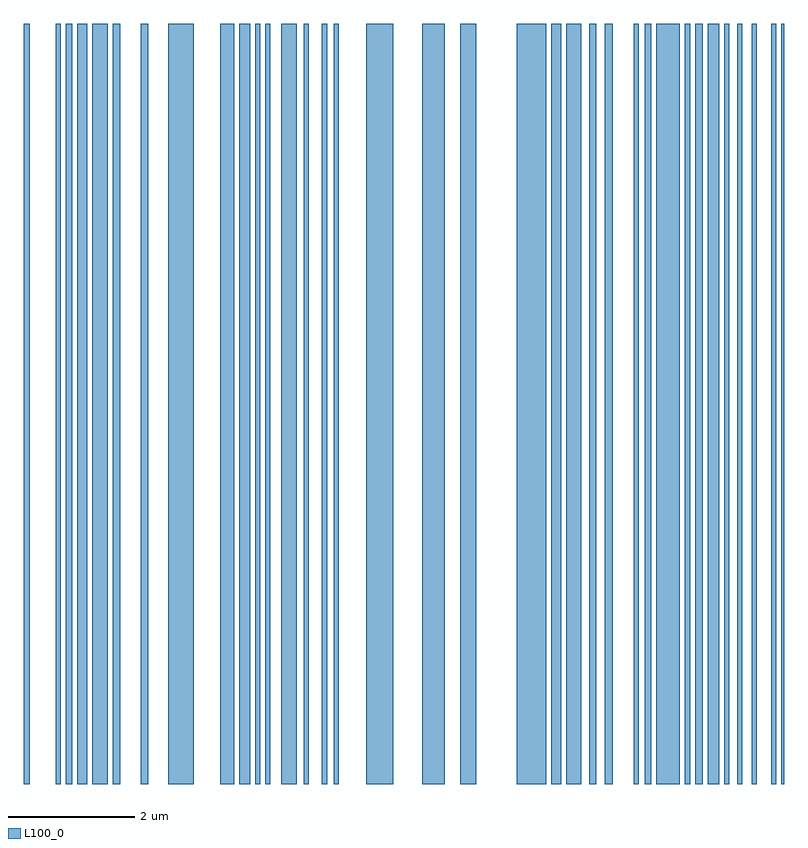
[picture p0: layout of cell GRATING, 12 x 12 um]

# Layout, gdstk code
import gdstk
lib = gdstk.Library(unit=1e-6, precision=1e-09)
def R(c, l, rs):  # rectangles x0, y0, x1, y1
    for r in rs: c.add(gdstk.rectangle(r[:2], r[2:], *l))
L100_0 = (100, 0)

grating = lib.new_cell('GRATING')
R(grating, L100_0, [(0,-6,0.089,6), (0.5,-6,0.58,6), (0.66,-6,0.76,6), (0.84,-6,1,6), (1.08,-6,1.32,6), (1.4,-6,1.52,6), (1.84,-6,1.96,6), (2.28,-6,2.679,6), (3.098,-6,3.32,6), (3.4,-6,3.571,6), (3.651,-6,3.731,6), (3.811,-6,3.891,6), (4.064,-6,4.307,6), (4.415,-6,4.495,6), (4.705,-6,4.785,6), (4.89,-6,4.97,6), (5.4,-6,5.832,6), (6.292,-6,6.647,6), (6.888,-6,7.137,6), (7.784,-6,8.243,6), (8.323,-6,8.481,6), (8.561,-6,8.799,6), (8.924,-6,9.037,6), (9.172,-6,9.299,6), (9.625,-6,9.705,6), (9.799,-6,9.902,6), (9.982,-6,10.356,6), (10.436,-6,10.516,6), (10.596,-6,10.714,6), (10.794,-6,10.976,6), (11.056,-6,11.136,6), (11.264,-6,11.344,6), (11.49,-6,11.57,6), (11.8,-6,11.88,6), (11.96,-6,12,6)])

lib.write_gds('GRATING.gds')
